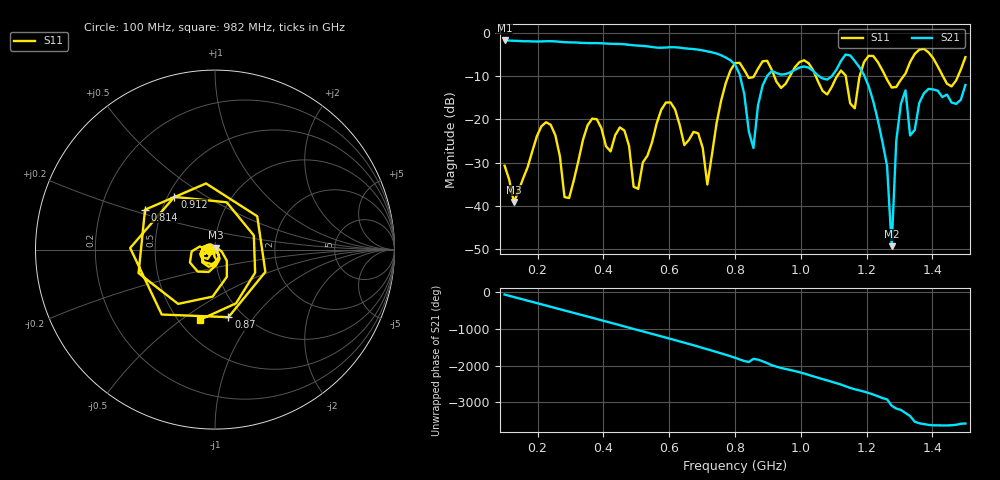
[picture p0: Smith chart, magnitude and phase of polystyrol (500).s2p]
! NanoVNA-App
! Date: 2025-09-25 15:33:47
! Start: 100MHz Stop: 1,5GHz Points: 101
! S-Parameter data: F S11 S21 S12 S22
# Hz S RI R 50
!  Frequency  S11_Real  S11_Imag  S21_Real  S21_Imag  S12_Real  S12_Imag  S22_Real  S22_Imag
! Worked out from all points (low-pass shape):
!   101 points, 100 MHz to 1.5 GHz, reference 50 ohm
!   highest |S21| = -1.80 dB at 100 MHz (marker M1); lowest = -49.3 dB at 1.276 GHz (marker M2)
!   |S21| within 3 dB of the highest: start of sweep to 743.1 MHz
!   lowest |S11| = -39.1 dB at 128 MHz (marker M3), VSWR 1.02, Z = 50.3 + j1.06 ohm
!   |S11| at or under -10 dB: start of sweep to 779.9 MHz; 1.045 GHz to 1.111 GHz (65.44 MHz wide, 6.07 % of centre); 1.257 GHz to 1.312 GHz (55.87 MHz wide, 4.35 % of centre) (the widest 3 of 7)
!   S12 and S22 are empty: the file has one direction only
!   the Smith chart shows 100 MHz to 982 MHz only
!   S11 on the Smith chart (normalised r, x): 100 MHz: 0.94, -0.01; 814 MHz: 0.40, +0.22; 870 MHz: 0.85, -0.75; 912 MHz: 0.54, +0.37; 982 MHz: 0.64, -0.59
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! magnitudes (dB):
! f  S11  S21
! 100 MHz  -30.7  -1.8
! 128 MHz  -39.1  -1.9
! 212 MHz  -21.6  -2.0
! 282 MHz  -37.9  -2.2
! 338 MHz  -24.8  -2.4
! 464 MHz  -22.6  -2.7
! 506 MHz  -36.0  -3.0
! 576 MHz  -17.8  -3.5
! 716 MHz  -35.0  -4.3
! 800 MHz  -7.0  -7.3
! 814 MHz  -7.0  -9.6
! 856 MHz  -10.3  -26.6
! 870 MHz  -8.3  -16.7
! 912 MHz  -8.6  -8.9
! 982 MHz  -8.0  -8.6
! 1.038 GHz  -8.7  -8.9
! 1.192 GHz  -6.8  -9.8
! 1.262 GHz  -10.8  -30.7
! 1.276 GHz  -12.7  -49.3
! 1.29 GHz  -12.5  -24.9
! 1.318 GHz  -9.4  -13.3
! 1.5 GHz  -5.7  -12.1
